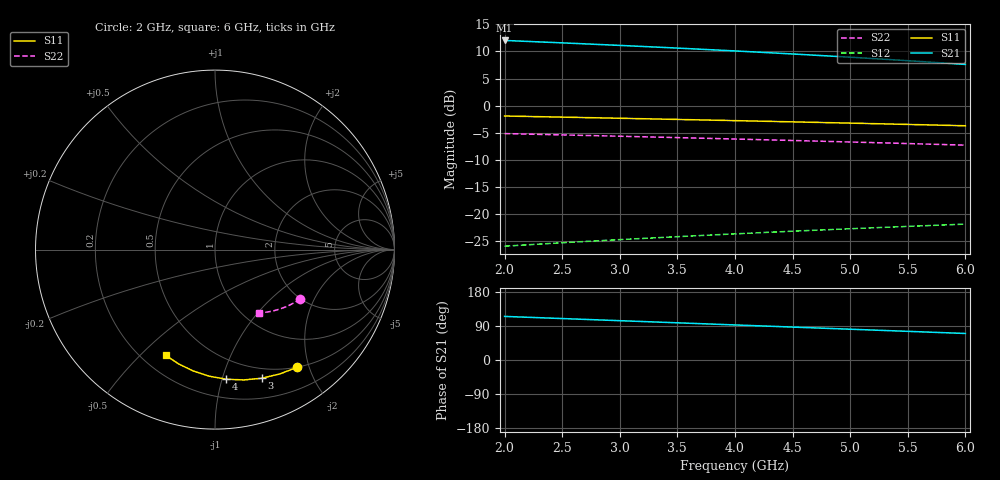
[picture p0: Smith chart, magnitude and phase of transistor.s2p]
! A synthetic transistor-like two-port, biased for low noise. Not a real part.
! From 2 to 6 GHz each quantity runs linearly between these end values:
!  S11 0.80 /-55 to 0.65 /-115  S21 4.0 /115 to 2.4 /70
!  S12 0.05 /55  to 0.08 /30  S22 0.55 /-30 to 0.43 /-55
!  NFmin 0.45 to 0.85 dB, Gamma_opt 0.75 /35 to 0.55 /115, rn 0.22 to 0.16
! It is not unconditionally stable below about 4 GHz (Rollett K < 1).
# GHz S MA R 50
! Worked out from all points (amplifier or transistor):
!   9 points, 2 GHz to 6 GHz, reference 50 ohm
!   highest |S21| = 12.0 dB at 2 GHz (marker M1)
!   |S21| within 3 dB of that: start of sweep to 4.918 GHz
!   unconditionally stable (mu >= 1): 3.84 GHz to end of sweep
!   at 2.5 GHz: K = 0.88, MSG = 18.5 dB, |S12| = -25.4 dB
!   at 4 GHz: K = 1.02, MAG = 16.1 dB, |S12| = -23.7 dB
!   at 6 GHz: K = 1.32, MAG = 11.4 dB, |S12| = -21.9 dB
!   lowest NFmin = 0.45 dB at 2 GHz
!   S11 on the Smith chart (normalised r, x): 2 GHz: 0.50, -1.81; 3 GHz: 0.39, -1.35; 4 GHz: 0.34, -1.03; 6 GHz: 0.29, -0.60
2  0.8 -55.0  4 115.0  0.05 55.0  0.55 -30.0
2.5  0.7812 -62.5  3.8 109.4  0.0538 51.9  0.535 -33.1
3  0.7625 -70.0  3.6 103.8  0.0575 48.8  0.52 -36.2
3.5  0.7438 -77.5  3.4 98.1  0.0612 45.6  0.505 -39.4
4  0.725 -85.0  3.2 92.5  0.065 42.5  0.49 -42.5
4.5  0.7063 -92.5  3 86.9  0.0688 39.4  0.475 -45.6
5  0.6875 -100.0  2.8 81.2  0.0725 36.2  0.46 -48.8
5.5  0.6687 -107.5  2.6 75.6  0.0762 33.1  0.445 -51.9
6  0.65 -115.0  2.4 70.0  0.08 30.0  0.43 -55.0
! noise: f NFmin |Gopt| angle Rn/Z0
2  0.45  0.75  35  0.22
2.5  0.5  0.725  45  0.212
3  0.55  0.7  55  0.205
3.5  0.6  0.675  65  0.198
4  0.65  0.65  75  0.19
4.5  0.7  0.625  85  0.182
5  0.75  0.6  95  0.175
5.5  0.8  0.575  105  0.168
6  0.85  0.55  115  0.16
